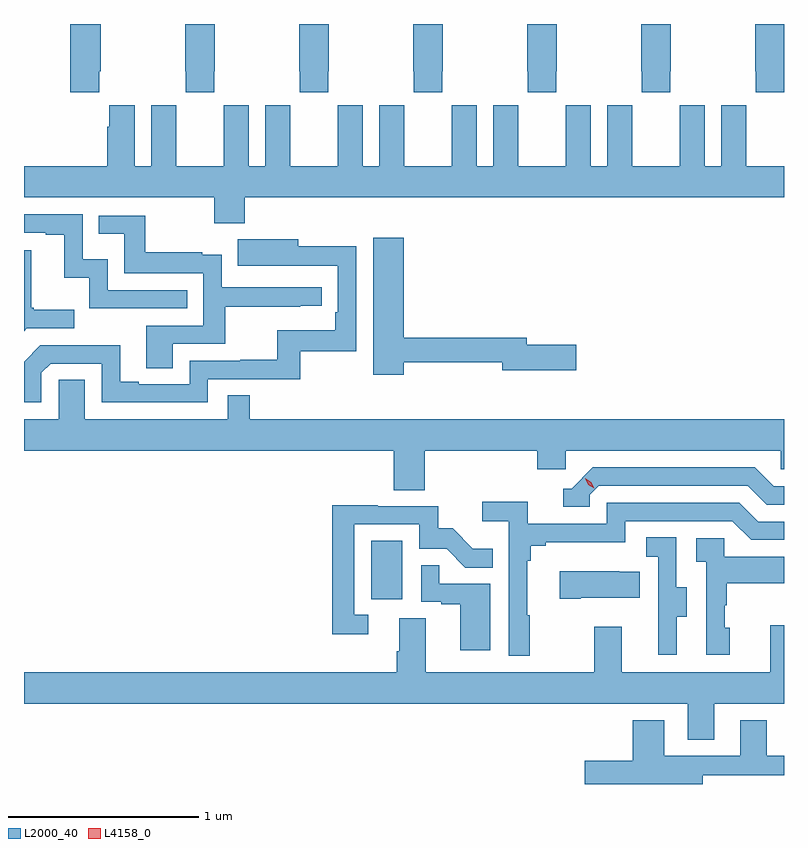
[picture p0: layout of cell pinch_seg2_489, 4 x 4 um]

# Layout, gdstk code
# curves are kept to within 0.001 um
import gdstk
lib = gdstk.Library(unit=1e-6, precision=1e-09)
def R(c, l, rs):  # rectangles x0, y0, x1, y1
    for r in rs: c.add(gdstk.rectangle(r[:2], r[2:], *l))
def P(c, l, *ps):  # polygons
    for p in ps: c.add(gdstk.Polygon(p, *l))
L2000_40 = (2000, 40)
L4158_0 = (4158, 0)

pinch_seg2_489 = lib.new_cell('pinch_seg2_489')
R(pinch_seg2_489, L2000_40, [(970.514,588.246,970.678,588.553)])
P(pinch_seg2_489, L2000_40, [(969.083,591.025),(969.09,591.025),(969.09,591.273),(968.93,591.273),(968.93,590.913),(969.083,590.913)],
  [(969.687,591.025),(969.69,591.025),(969.69,591.273),(969.535,591.273),(969.535,591.025),(969.537,591.025),(969.537,590.913),(969.687,590.913)],
  [(970.287,591.025),(970.29,591.025),(970.29,591.273),(970.135,591.273),(970.135,591.025),(970.137,591.025),(970.137,590.913),(970.287,590.913)],
  [(970.887,591.025),(970.89,591.025),(970.89,591.273),(970.735,591.273),(970.735,591.025),(970.737,591.025),(970.737,590.913),(970.887,590.913)],
  [(971.487,591.025),(971.49,591.025),(971.49,591.273),(971.335,591.273),(971.335,591.025),(971.337,591.025),(971.337,590.913),(971.487,590.913)],
  [(971.935,591.025),(971.937,591.025),(971.937,590.913),(972.087,590.913),(972.087,591.025),(972.09,591.025),(972.09,591.273),(971.935,591.273)],
  [(972.686,591.273),(972.535,591.273),(972.535,591.025),(972.537,591.025),(972.537,590.913),(972.686,590.913)],
  [(969.486,590.732),(969.486,590.845),(969.356,590.845),(969.356,590.524),(969.268,590.524),(969.268,590.845),(969.134,590.845),(969.134,590.732),(969.125,590.732),(969.125,590.524),(968.686,590.524),(968.686,590.36),(969.688,590.36),(969.688,590.225),(969.848,590.225),(969.848,590.36),(972.686,590.36),(972.686,590.524),(972.487,590.524),(972.487,590.732),(972.486,590.732),(972.486,590.845),(972.356,590.845),(972.356,590.524),(972.268,590.524),(972.268,590.845),(972.138,590.845),(972.138,590.732),(972.137,590.732),(972.137,590.524),(971.887,590.524),(971.887,590.732),(971.886,590.732),(971.886,590.845),(971.756,590.845),(971.756,590.524),(971.668,590.524),(971.668,590.845),(971.538,590.845),(971.538,590.732),(971.537,590.732),(971.537,590.524),(971.287,590.524),(971.287,590.732),(971.286,590.732),(971.286,590.845),(971.156,590.845),(971.156,590.524),(971.068,590.524),(971.068,590.845),(970.938,590.845),(970.938,590.732),(970.937,590.732),(970.937,590.524),(970.687,590.524),(970.687,590.732),(970.686,590.732),(970.686,590.845),(970.556,590.845),(970.556,590.524),(970.468,590.524),(970.468,590.845),(970.338,590.845),(970.338,590.732),(970.337,590.732),(970.337,590.524),(970.087,590.524),(970.087,590.732),(970.086,590.732),(970.086,590.845),(969.956,590.845),(969.956,590.524),(969.868,590.524),(969.868,590.845),(969.738,590.845),(969.738,590.732),(969.737,590.732),(969.737,590.524),(969.487,590.524),(969.487,590.732)],
  [(969.545,589.872),(969.126,589.872),(969.126,590.035),(968.994,590.035),(968.994,590.271),(968.686,590.271),(968.686,590.175),(968.801,590.175),(968.801,590.163),(968.897,590.163),(968.897,589.937),(969.03,589.937),(969.03,589.776),(969.545,589.776)],
  [(969.469,589.59),(969.746,589.59),(969.746,589.786),(970.139,589.786),(970.139,589.791),(970.252,589.791),(970.252,589.887),(969.726,589.887),(969.726,590.059),(969.623,590.059),(969.623,590.071),(969.325,590.071),(969.325,590.265),(969.079,590.265),(969.079,590.168),(969.214,590.168),(969.214,589.962),(969.63,589.962),(969.63,589.686),(969.329,589.686),(969.329,589.462),(969.469,589.462)],
  [(970.684,589.494),(971.204,589.494),(971.204,589.451),(971.593,589.451),(971.593,589.586),(971.332,589.586),(971.332,589.622),(970.684,589.622),(970.684,590.149),(970.523,590.149),(970.523,589.428),(970.684,589.428)],
  [(968.778,589.437),(968.826,589.485),(969.096,589.485),(969.096,589.281),(969.654,589.281),(969.654,589.404),(970.141,589.404),(970.141,589.551),(970.434,589.551),(970.434,590.102),(970.129,590.102),(970.129,590.14),(969.811,590.14),(969.811,590),(970.338,590.001),(970.338,589.756),(970.325,589.756),(970.325,589.66),(970.02,589.66),(970.02,589.505),(969.823,589.505),(969.823,589.5),(969.558,589.5),(969.558,589.377),(969.289,589.377),(969.289,589.39),(969.193,589.39),(969.193,589.583),(968.988,589.583),(968.988,589.581),(968.772,589.581),(968.686,589.495),(968.686,589.281),(968.778,589.281)],
  [(968.7,589.671),(968.95,589.671),(968.95,589.768),(968.737,589.768),(968.737,589.78),(968.725,589.78),(968.725,590.083),(968.686,590.083),(968.686,589.657)],
  [(970.796,589.028),(971.387,589.028),(971.387,588.93),(971.538,588.93),(971.538,589.028),(972.669,589.028),(972.669,588.93),(972.686,588.93),(972.686,589.192),(969.875,589.192),(969.875,589.319),(969.759,589.319),(969.759,589.192),(969.007,589.192),(969.007,589.4),(968.868,589.4),(968.868,589.192),(968.686,589.192),(968.686,589.028),(970.631,589.028),(970.631,588.82),(970.796,588.82)],
  [(971.664,588.795),(971.712,588.843),(972.495,588.843),(972.594,588.744),(972.686,588.744),(972.686,588.84),(972.631,588.84),(972.532,588.939),(971.679,588.939),(971.568,588.828),(971.525,588.828),(971.525,588.732),(971.664,588.732)],
  [(971.347,588.161),(971.335,588.161),(971.335,588.449),(971.354,588.449),(971.354,588.526),(971.431,588.526),(971.431,588.545),(971.85,588.545),(971.85,588.657),(972.414,588.657),(972.513,588.558),(972.686,588.558),(972.686,588.654),(972.55,588.654),(972.451,588.753),(971.754,588.753),(971.754,588.642),(971.336,588.642),(971.336,588.758),(971.097,588.758),(971.097,588.656),(971.238,588.656),(971.238,587.949),(971.347,587.949)],
  [(970.498,588.165),(970.425,588.165),(970.425,588.639),(970.767,588.639),(970.767,588.51),(970.911,588.51),(971.009,588.412),(971.153,588.412),(971.153,588.511),(971.049,588.511),(970.942,588.618),(970.866,588.618),(970.866,588.735),(970.547,588.735),(970.547,588.74),(970.309,588.74),(970.309,588.06),(970.498,588.06)],
  [(972.121,588.154),(972.175,588.154),(972.175,588.309),(972.12,588.309),(972.12,588.572),(971.961,588.572),(971.961,588.469),(972.024,588.469),(972.024,588.165),(972.023,588.165),(972.023,587.952),(972.121,587.952)],
  [(972.4,588.096),(972.375,588.096),(972.375,588.215),(972.385,588.215),(972.385,588.329),(972.686,588.329),(972.686,588.469),(972.372,588.469),(972.372,588.567),(972.225,588.567),(972.225,588.443),(972.276,588.443),(972.276,587.952),(972.4,587.952)],
  [(971.14,588.327),(970.871,588.327),(970.871,588.425),(970.776,588.425),(970.776,588.231),(970.883,588.231),(970.883,588.219),(970.982,588.219),(970.982,587.976),(971.14,587.976)],
  [(971.617,588.254),(971.927,588.254),(971.927,588.391),(971.819,588.391),(971.819,588.394),(971.505,588.394),(971.505,588.247),(971.617,588.247)],
  [(972.319,587.696),(972.686,587.696),(972.686,588.109),(972.614,588.109),(972.614,587.86),(971.833,587.86),(971.833,588.1),(971.686,588.1),(971.686,587.86),(970.801,587.86),(970.801,588.146),(970.661,588.146),(970.661,587.972),(970.649,587.972),(970.649,587.86),(968.686,587.86),(968.686,587.696),(972.179,587.696),(972.179,587.506),(972.319,587.506)],
  [(972.259,587.32),(972.686,587.32),(972.686,587.421),(972.595,587.421),(972.595,587.608),(972.455,587.608),(972.455,587.421),(972.055,587.421),(972.055,587.608),(971.891,587.608),(971.891,587.395),(971.636,587.395),(971.636,587.273),(972.259,587.273)])
P(pinch_seg2_489, L4158_0, [(971.688,588.829),(971.657,588.848),(971.641,588.881),(971.641,588.881),(971.641,588.881),(971.672,588.862),(971.688,588.829),(971.688,588.829)])

lib.write_gds('pinch_seg2_489.gds')
